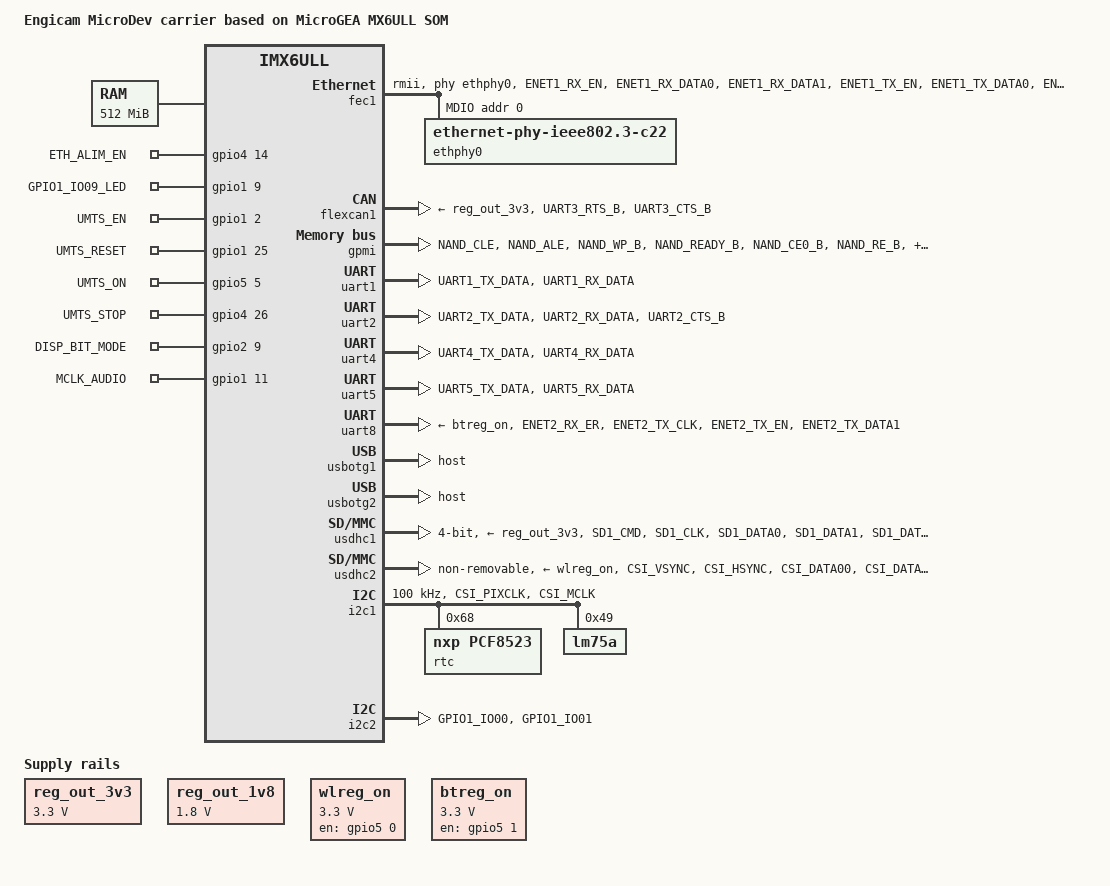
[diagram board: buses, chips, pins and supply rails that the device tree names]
/*
 * Copyright (C) 2015 Freescale Semiconductor, Inc.
 *
 * This program is free software; you can redistribute it and/or modify
 * it under the terms of the GNU General Public License version 2 as
 * published by the Free Software Foundation.
 */

/dts-v1/;

#include <dt-bindings/gpio/gpio.h>
#include <dt-bindings/input/input.h>
#include "imx6ull.dtsi"

/ {
	model = "Engicam MicroDev carrier based on MicroGEA MX6ULL SOM";
	compatible = "fsl,imx6ull-14x14-evk", "fsl,imx6ull";

	chosen {
		stdout-path = &uart1;
	};

	memory {
		reg = <0x80000000 0x20000000>;
	};

	reserved-memory {
		#address-cells = <1>;
		#size-cells = <1>;
		ranges;

		linux,cma {
			compatible = "shared-dma-pool";
			reusable;
			size = <0x4000000>;
			linux,cma-default;
		};
	};

	gpio_export {
		compatible = "gpio-export";
		#size-cells = <0>;
	

		ETH_ALIM_EN {
			gpio-export,name = "ETH_ALIM_EN";
			gpio-export,output = <1>;
			gpios = <&gpio4 14 0>;
		};	

		GPIO1_IO09_LED {
			gpio-export,name = "GPIO1_IO09_LED";
			gpio-export,output = <1>;
			gpios = <&gpio1 9 0>;
		};	

		UMTS_EN {
			gpio-export,name = "UMTS_EN";
			gpio-export,output = <1>;
			gpios = <&gpio1 2 0>;
		};	

		UMTS_RESET {
			gpio-export,name = "UMTS_RESET";
			gpio-export,output = <0>;
			gpios = <&gpio1 25 0>;
		};	

		UMTS_ON {
			gpio-export,name = "UMTS_ON";
			gpio-export,output = <0>;
			gpios = <&gpio5 5 0>;
		};	

		UMTS_STOP {
			gpio-export,name = "UMTS_STOP";
			gpio-export,output = <0>;
			gpios = <&gpio4 26 0>;
		};	

		DISP_BIT_MODE {
			gpio-export,name = "DISP_BIT_MODE";
			gpio-export,output = <0>;
			gpios = <&gpio2 9 0>;
		};

		MCLK_AUDIO {
			gpio-export,name = "MCLK_AUDIO";
			gpio-export,output = <0>;
			gpios = <&gpio1 11 0>;
		};
	};


	regulators {
		compatible = "simple-bus";
		#address-cells = <1>;
		#size-cells = <0>;

		reg_out_3v3: regulator@0 {
			compatible = "regulator-fixed";
			reg = <0>;
			regulator-name = "out-3v3";
			regulator-min-microvolt = <3300000>;
			regulator-max-microvolt = <3300000>;
		};

		reg_out_1v8: regulator@1 {
			compatible = "regulator-fixed";
			reg = <1>;
			regulator-name = "out-1v8";
			regulator-min-microvolt = <1800000>;
			regulator-max-microvolt = <1800000>;
		};

		wlreg_on: fixedregulator@100 {
			compatible = "regulator-fixed";
			regulator-name = "wlreg_on";
			gpio = <&gpio5 0 0>;
			startup-delay-us = <100>;
			enable-active-high;
			regulator-min-microvolt = <3300000>;
			regulator-max-microvolt = <3300000>;
			regulator-always-on;
		};

		btreg_on: fixedregulator@200 {
			compatible = "regulator-fixed";
			regulator-name = "btreg_on";
			gpio = <&gpio5 1 0>;
			startup-delay-us = <100>;
			enable-active-high;
			regulator-min-microvolt = <3300000>;
			regulator-max-microvolt = <3300000>;
			regulator-always-on;
		};
	};

};

&cpu0 {
	arm-supply = <&reg_arm>;
	soc-supply = <&reg_soc>;
};

&clks {
	assigned-clocks = <&clks IMX6UL_CLK_PLL4_AUDIO_DIV>;
	assigned-clock-rates = <786432000>;
};

&fec1 {
	pinctrl-names = "default";
	pinctrl-0 = <&pinctrl_enet1>;
	phy-mode = "rmii";
	phy-handle = <&ethphy0>;
	local-mac-address = [00 04 9F 01 1B B9];
	status = "okay";

	mdio {
		#address-cells = <1>;
		#size-cells = <0>;

		ethphy0: ethernet-phy@0 {
			compatible = "ethernet-phy-ieee802.3-c22";
			reg = <0>;
		};
	};

};


&flexcan1 {
	pinctrl-names = "default";
	pinctrl-0 = <&pinctrl_flexcan1>;
	xceiver-supply = <&reg_out_3v3>;
	status = "okay";
};

&gpc {
	fsl,cpu_pupscr_sw2iso = <0x2>;
	fsl,cpu_pupscr_sw = <0x1>;
	fsl,cpu_pdnscr_iso2sw = <0x1>;
	fsl,cpu_pdnscr_iso = <0x1>;
	fsl,wdog-reset = <1>; /* watchdog select of reset source */
	fsl,ldo-bypass = <1>; /* use ldo-bypass, u-boot will check it and configure */
};

&wdog1 {
	fsl,wdog_b;
};

&snvs_pwrkey {
	status = "disabled";
};

&gpmi {
	pinctrl-names = "default";
	pinctrl-0 = <&pinctrl_gpmi_nand_1>;
	status = "okay";
	fsl,legacy-bch-geometry;
	nand-on-flash-bbt;
};

&pwm8 {
	pinctrl-names = "default";
	pinctrl-0 = <&pinctrl_pwm8>;
	status = "disabled";
};

&sai2 {
	pinctrl-names = "default";
	pinctrl-0 = <&pinctrl_sai2>;    
	status = "disabled";
};


&uart1 {
	pinctrl-names = "default";
	pinctrl-0 = <&pinctrl_uart1>;
	status = "okay";
};

&uart2 {
	pinctrl-names = "default";
	pinctrl-0 = <&pinctrl_uart2>;
	fsl,uart-has-rtscts;
	status = "okay";
};

&uart4 {
	pinctrl-names = "default";
	pinctrl-0 = <&pinctrl_uart4>;
	status = "okay";
};

&uart5 {
	pinctrl-names = "default";
	pinctrl-0 = <&pinctrl_uart5>;
	status = "okay";
};

&uart8 {
	pinctrl-names = "default";
	pinctrl-0 = <&pinctrl_uart8>;
	vmmc-supply = <&btreg_on>;
	fsl,uart-has-rtscts;
	status = "okay";
};

&usbotg1 {
	dr_mode = "host";
	status = "okay";
};

&usbotg2 {
	dr_mode = "host";
	status = "okay";
};

&usdhc1 {
	pinctrl-names = "default";
	pinctrl-0 = <&pinctrl_usdhc1>;
	max-frequency = <25000000>;
	bus-width = <4>;
	cd-gpios = <&gpio1 19 GPIO_ACTIVE_LOW>;
	vmmc-supply = <&reg_out_3v3>;
	enable-sdio-wakeup;
	keep-power-in-suspend;
	status = "okay";
};


&usdhc2 {
	pinctrl-names = "default";
	pinctrl-0 = <&pinctrl_usdhc2>;
	max-frequency = <20000000>;
	no-1-8-v;
	non-removable;
	vmmc-supply = <&wlreg_on>;
	status = "okay";
};

&i2c1 {
	clock-frequency = <100000>;
	pinctrl-names = "default";
	pinctrl-0 = <&pinctrl_i2c1>;
	status = "okay";

	rtc: pcf8523@68 {
		compatible = "nxp,pcf8523";
		reg = <0x68>;
	};

	lm75a@49 {
		compatible = "lm75a";
		reg = <0x49>;
	};

};

&i2c2 {
	clock_frequency = <100000>;
	pinctrl-names = "default";
	pinctrl-0 = <&pinctrl_i2c2>;
	status = "okay";
};

&iomuxc {
	pinctrl-names = "default";
	pinctrl-0 = <&pinctrl_hog_1>;
	imx6ul-evk {
		pinctrl_hog_1: hoggrp-1 {
			fsl,pins = <
				MX6UL_PAD_GPIO1_IO03__REF_CLK_32K  	0x1b090
				MX6UL_PAD_UART1_RTS_B__GPIO1_IO19  	0x17059 /*CD sdhc1 */
				MX6UL_PAD_SNVS_TAMPER2__GPIO5_IO02 	0x1b0b0 /* DISP0_PWD */
				MX6UL_PAD_ENET2_RX_DATA0__GPIO2_IO08 	0x1b0b0 /* LCD_ALIM_EN */
				MX6UL_PAD_SNVS_TAMPER0__GPIO5_IO00   	0x1b0b0 /* WL_REF_ON */
				MX6UL_PAD_SNVS_TAMPER1__GPIO5_IO01   	0x1b0b0 /* BT_REF_ON */
				MX6UL_PAD_NAND_CE1_B__GPIO4_IO14   	0x1b0b0 /* ETH_ALIM_EN */
				MX6UL_PAD_GPIO1_IO09__GPIO1_IO09   	0x1b0b0 /*GPIO1_IO09_LED*/
				MX6UL_PAD_GPIO1_IO02__GPIO1_IO02	0x1b0b0 /*UMTS_EN*/  
				MX6UL_PAD_UART3_RX_DATA__GPIO1_IO25	0x1b0b0 /*UMTS_RESET*/
				MX6UL_PAD_SNVS_TAMPER5__GPIO5_IO05	0x1b0b0 /*UMTS_ON*/
				MX6UL_PAD_CSI_DATA05__GPIO4_IO26	0x1b0b0 /*UMTS_STOP*/
				MX6UL_PAD_ENET2_RX_DATA1__GPIO2_IO09    0x1b0b0 /*DISP_BIT_MODE*/
				MX6UL_PAD_JTAG_TMS__GPIO1_IO11          0x1b0b0 /*MCLK AUDIO*/

			>;
		};

		pinctrl_enet1: enet1grp {
			fsl,pins = <
				MX6UL_PAD_ENET1_RX_EN__ENET1_RX_EN	0x1b0b0
				MX6UL_PAD_ENET1_RX_DATA0__ENET1_RDATA00	0x1b0b0
				MX6UL_PAD_ENET1_RX_DATA1__ENET1_RDATA01	0x1b0b0
				MX6UL_PAD_ENET1_TX_EN__ENET1_TX_EN	0x1b0b0
				MX6UL_PAD_ENET1_TX_DATA0__ENET1_TDATA00	0x1b0b0
				MX6UL_PAD_ENET1_TX_DATA1__ENET1_TDATA01	0x1b0b0
				MX6UL_PAD_ENET1_TX_CLK__ENET1_REF_CLK1	0x4001b011
				MX6UL_PAD_GPIO1_IO07__ENET1_MDC		0x1b0b0
				MX6UL_PAD_GPIO1_IO06__ENET1_MDIO	0x1b0b0
			>;
		};

		pinctrl_enet2: enet2grp {
			fsl,pins = <
				MX6UL_PAD_ENET2_RX_EN__ENET2_RX_EN	0x1b0b0
				MX6UL_PAD_ENET2_RX_ER__GPIO2_IO15	0x1b0b0		/* ENET_nRST */
				MX6UL_PAD_ENET2_RX_DATA0__ENET2_RDATA00	0x1b0b0
				MX6UL_PAD_ENET2_RX_DATA1__ENET2_RDATA01	0x1b0b0
				MX6UL_PAD_ENET2_TX_EN__ENET2_TX_EN	0x1b0b0
				MX6UL_PAD_ENET2_TX_DATA0__ENET2_TDATA00	0x1b0b0
				MX6UL_PAD_ENET2_TX_DATA1__ENET2_TDATA01	0x1b0b0
				MX6UL_PAD_GPIO1_IO05__ENET2_REF_CLK2	0x4001b031
			>;
		};

		pinctrl_flexcan1: flexcan1grp{
			fsl,pins = <
				MX6UL_PAD_UART3_RTS_B__FLEXCAN1_RX	0x1b020
				MX6UL_PAD_UART3_CTS_B__FLEXCAN1_TX	0x1b020
			>;
		};


		pinctrl_gpmi_nand_1: gpmi-nand-1 {
			fsl,pins = <
				MX6UL_PAD_NAND_CLE__RAWNAND_CLE         0xb0b1
				MX6UL_PAD_NAND_ALE__RAWNAND_ALE         0xb0b1
				MX6UL_PAD_NAND_WP_B__RAWNAND_WP_B       0xb0b1
				MX6UL_PAD_NAND_READY_B__RAWNAND_READY_B 0xb000
				MX6UL_PAD_NAND_CE0_B__RAWNAND_CE0_B     0xb0b1
				MX6UL_PAD_NAND_RE_B__RAWNAND_RE_B       0xb0b1
				MX6UL_PAD_NAND_WE_B__RAWNAND_WE_B       0xb0b1
				MX6UL_PAD_NAND_DATA00__RAWNAND_DATA00   0xb0b1
				MX6UL_PAD_NAND_DATA01__RAWNAND_DATA01   0xb0b1
				MX6UL_PAD_NAND_DATA02__RAWNAND_DATA02   0xb0b1
				MX6UL_PAD_NAND_DATA03__RAWNAND_DATA03   0xb0b1
				MX6UL_PAD_NAND_DATA04__RAWNAND_DATA04   0xb0b1
				MX6UL_PAD_NAND_DATA05__RAWNAND_DATA05   0xb0b1
				MX6UL_PAD_NAND_DATA06__RAWNAND_DATA06   0xb0b1
				MX6UL_PAD_NAND_DATA07__RAWNAND_DATA07   0xb0b1
			>;
		};

		pinctrl_pwm8: pwm8grp {
			fsl,pins = <
				MX6UL_PAD_ENET1_RX_ER__PWM8_OUT   0x110b0
			>;
		};

		pinctrl_uart1: uart1grp {
			fsl,pins = <
				MX6UL_PAD_UART1_TX_DATA__UART1_DCE_TX 0x1b0b1
				MX6UL_PAD_UART1_RX_DATA__UART1_DCE_RX 0x1b0b1
			>;
		};

		pinctrl_uart2: uart2grp {
			fsl,pins = <
				MX6UL_PAD_UART2_TX_DATA__UART2_DCE_TX	0x1b0b1
				MX6UL_PAD_UART2_RX_DATA__UART2_DCE_RX	0x1b0b1
				MX6UL_PAD_UART2_CTS_B__UART2_DCE_CTS	0x1b0b1
			>;
		};

		pinctrl_uart4: uart4grp {
			fsl,pins = <
				MX6UL_PAD_UART4_TX_DATA__UART4_DCE_TX 0x1b0b1
				MX6UL_PAD_UART4_RX_DATA__UART4_DCE_RX 0x1b0b1
			>;
		};

		pinctrl_uart5: uart5grp {
			fsl,pins = <
				MX6UL_PAD_UART5_TX_DATA__UART5_DCE_TX 0x1b0b1
				MX6ULL_PAD_UART5_RX_DATA__UART5_DCE_RX 0x1b0b1
			>;
		};

		pinctrl_uart8: uart8grp {
				fsl,pins = <
				MX6UL_PAD_ENET2_RX_ER__UART8_DCE_RTS	0x1b0b1
				MX6UL_PAD_ENET2_TX_CLK__UART8_DCE_CTS	0x1b0b1
				MX6UL_PAD_ENET2_TX_EN__UART8_DCE_RX	0x1b0b1
				MX6UL_PAD_ENET2_TX_DATA1__UART8_DCE_TX	0x1b0b1
			>;
		};

		pinctrl_usdhc1: usdhc1grp {
			fsl,pins = <
				MX6UL_PAD_SD1_CMD__USDHC1_CMD     0x17059
				MX6UL_PAD_SD1_CLK__USDHC1_CLK     0x10059
				MX6UL_PAD_SD1_DATA0__USDHC1_DATA0 0x17059
				MX6UL_PAD_SD1_DATA1__USDHC1_DATA1 0x17059
				MX6UL_PAD_SD1_DATA2__USDHC1_DATA2 0x17059
				MX6UL_PAD_SD1_DATA3__USDHC1_DATA3 0x17059
			>;
		};

		pinctrl_usdhc1_100mhz: usdhc1grp100mhz {
			fsl,pins = <
				MX6UL_PAD_SD1_CMD__USDHC1_CMD     0x170b9
				MX6UL_PAD_SD1_CLK__USDHC1_CLK     0x100b9
				MX6UL_PAD_SD1_DATA0__USDHC1_DATA0 0x170b9
				MX6UL_PAD_SD1_DATA1__USDHC1_DATA1 0x170b9
				MX6UL_PAD_SD1_DATA2__USDHC1_DATA2 0x170b9
				MX6UL_PAD_SD1_DATA3__USDHC1_DATA3 0x170b9
			>;
		};

		pinctrl_usdhc1_200mhz: usdhc1grp200mhz {
			fsl,pins = <
				MX6UL_PAD_SD1_CMD__USDHC1_CMD     0x170f9
				MX6UL_PAD_SD1_CLK__USDHC1_CLK     0x100f9
				MX6UL_PAD_SD1_DATA0__USDHC1_DATA0 0x170f9
				MX6UL_PAD_SD1_DATA1__USDHC1_DATA1 0x170f9
				MX6UL_PAD_SD1_DATA2__USDHC1_DATA2 0x170f9
				MX6UL_PAD_SD1_DATA3__USDHC1_DATA3 0x170f9
			>;
		};

		pinctrl_usdhc2: usdhc2grp {
			fsl,pins = <
				MX6UL_PAD_CSI_VSYNC__USDHC2_CLK     0x10051
				MX6UL_PAD_CSI_HSYNC__USDHC2_CMD     0x17058
				MX6UL_PAD_CSI_DATA00__USDHC2_DATA0  0x17058
				MX6UL_PAD_CSI_DATA01__USDHC2_DATA1  0x17058
				MX6UL_PAD_CSI_DATA02__USDHC2_DATA2  0x17058
				MX6UL_PAD_CSI_DATA03__USDHC2_DATA3  0x17058
			>;
		};


		pinctrl_i2c1: i2c1grp {
			fsl,pins = <
				MX6UL_PAD_CSI_PIXCLK__I2C1_SCL 0x4001b8b0
				MX6UL_PAD_CSI_MCLK__I2C1_SDA 0x4001b8b0
			>;
		};

		pinctrl_i2c2: i2c2grp {
			fsl,pins = <
				MX6UL_PAD_GPIO1_IO00__I2C2_SCL 0x4001b8b0
				MX6UL_PAD_GPIO1_IO01__I2C2_SDA 0x4001b8b0
			>;
		};

		pinctrl_ecspi: ecspigrp {
			fsl,pins = <
				MX6UL_PAD_CSI_DATA04__ECSPI1_SCLK      	0x70a1
				MX6UL_PAD_CSI_DATA05__ECSPI1_SS0 	0x70a1
				MX6UL_PAD_CSI_DATA06__ECSPI1_MOSI   	0x70a1
				MX6UL_PAD_CSI_DATA07__ECSPI1_MISO   	0x70a1
			>;
		};

		pinctrl_sai2: sai2grp {
			fsl,pins = <
				MX6UL_PAD_JTAG_TCK__SAI2_RX_DATA	0x130b0
				MX6UL_PAD_JTAG_TMS__CCM_CLKO1		0x4001b031
				MX6UL_PAD_JTAG_TDI__SAI2_TX_BCLK	0x17088
				MX6UL_PAD_JTAG_TDO__SAI2_TX_SYNC	0x17088
				MX6UL_PAD_JTAG_TRST_B__SAI2_TX_DATA	0x120b0
			>;
		};

	};
};
